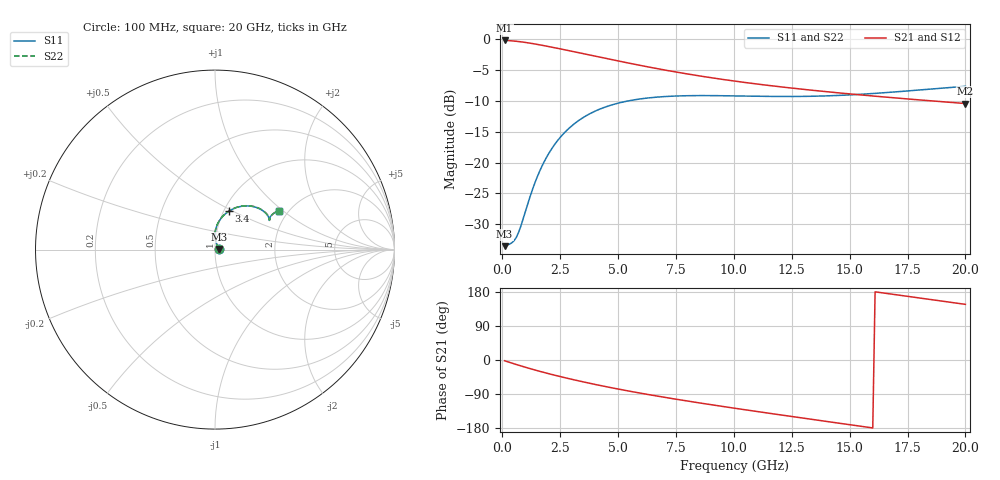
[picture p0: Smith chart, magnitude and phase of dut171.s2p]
! Touchstone file exported from HFSS 2024.1.0
!  File:  C:/UserFiles/LocalFiles/RDL_TSV_Batchsim/temp_RDL_TSV_171_1779436492.aedt
!  Generated:  04:13:04 PM May 22, 2026
!  Design:  RDL_TSV
!  Project:  temp_RDL_TSV_171_1779436492
!  Setup:  Setup1
!  Solution:  Sweep
! Variables:
!  dtsv = 14.91um
!  hbump = 3um
!  htsv = 66.43um
!  ldown = 264.72um
!  lrdl = 530.33um
!  p = 40
!  p1 = 53.48um
!  rhole = 10um
!  subl = 2915.48um
!  t = 450um
!  tdown = 3.46um
!  trdl = 3.86um
!  viad = 10um
!  wdown = 13.5um
!  wrdl = 12.88um
!  xbump = 18um
# GHz S MA R 50.000000
! Terminal data exported
! Port[1] = TM1_1_T1
! Port[2] = TM1_4_T1
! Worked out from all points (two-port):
!   200 points, 100 MHz to 20 GHz, reference 50 ohm
!   highest |S21| = -0.19 dB at 100 MHz (marker M1); lowest = -10.4 dB at 20 GHz (marker M2)
!   |S21| within 3 dB of the highest: start of sweep to 4.587 GHz
!   lowest |S11| = -33.6 dB at 100 MHz (marker M3), VSWR 1.04, Z = 52.1 + j0.324 ohm
!   |S11| at or under -10 dB: start of sweep to 5.433 GHz
!   |S22| runs from -33.6 to -7.6 dB; largest |S21 - S12| = 9.9e-14
!   S11 on the Smith chart (normalised r, x): 100 MHz: 1.04, +0.01; 3.4 GHz: 1.05, +0.47; 20 GHz: 1.79, +0.93
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0.1  0.02098 8.5  0.9786 -2.0  0.9786 -2.0  0.02098 8.5
! Gamma 0 0 0 0
! Port Impedance 50 0 50 0
0.4  0.02226 33.4  0.9718 -8.0  0.9718 -8.0  0.02225 33.4
0.6  0.02463 52.1  0.9641 -11.8  0.9641 -11.8  0.02461 52.2
0.8  0.03044 69.3  0.9544 -15.6  0.9544 -15.6  0.03045 69.5
1.2  0.05297 87.1  0.9305 -22.8  0.9305 -22.8  0.05306 87.2
1.4  0.06783 89.7  0.917 -26.3  0.917 -26.3  0.06796 89.8
1.7  0.09233 89.7  0.8957 -31.3  0.8957 -31.3  0.09255 89.8
2  0.1179 87.5  0.8737 -36.1  0.8737 -36.1  0.1182 87.6
2.6  0.168 80.5  0.8294 -45.2  0.8294 -45.2  0.1685 80.6
3.4  0.226 70.4  0.7718 -56.5  0.7718 -56.5  0.2267 70.5
3.5  0.2323 69.2  0.7648 -57.8  0.7648 -57.8  0.233 69.3
4.2  0.2709 61.2  0.7175 -66.9  0.7175 -66.9  0.2718 61.3
4.9  0.2999 54.3  0.6736 -75.4  0.6736 -75.4  0.3009 54.4
5.8  0.3251 46.9  0.6225 -85.7  0.6225 -85.7  0.3263 47.0
6.8  0.341 40.4  0.5731 -96.4  0.5731 -96.4  0.3423 40.5
8.4  0.3494 33.3  0.5087 -112.2  0.5087 -112.2  0.3509 33.4
10.1  0.3473 29.3  0.4563 -127.9  0.4563 -127.9  0.3488 29.4
11.7  0.3438 28.2  0.4181 -142.1  0.4181 -142.1  0.3454 28.3
13.4  0.3451 28.9  0.3857 -156.9  0.3857 -156.9  0.3467 28.9
15  0.3539 30.2  0.3606 -170.7  0.3606 -170.7  0.3554 30.2
16.7  0.371 31.4  0.3379 174.8  0.3379 174.8  0.3724 31.4
20  0.4157 31.2  0.3014 146.9  0.3014 146.9  0.4169 31.1
